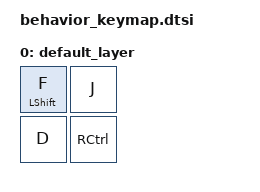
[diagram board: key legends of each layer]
#include <dt-bindings/zmk/keys.h>
#include <behaviors.dtsi>
#include <dt-bindings/zmk/kscan_mock.h>

/ {
	behaviors {
		ht_hold: behavior_hold_tap_hold_preferred {
			compatible = "zmk,behavior-hold-tap";
			label = "HOLD_TAP_HOLD_PREFERRED";
			#binding-cells = <2>;
			flavor = "hold-preferred";
			tapping-term-ms = <300>;
			quick-tap-ms = <200>;
			bindings = <&kp>, <&kp>;
			hold-enabler-keys = <88>;
		};
	};

	keymap {
		compatible = "zmk,keymap";
		label ="Default keymap";

		default_layer {
			bindings = <
				&ht_hold LEFT_SHIFT F &kp J
				&kp D &kp RIGHT_CONTROL>;
		};
	};
};
